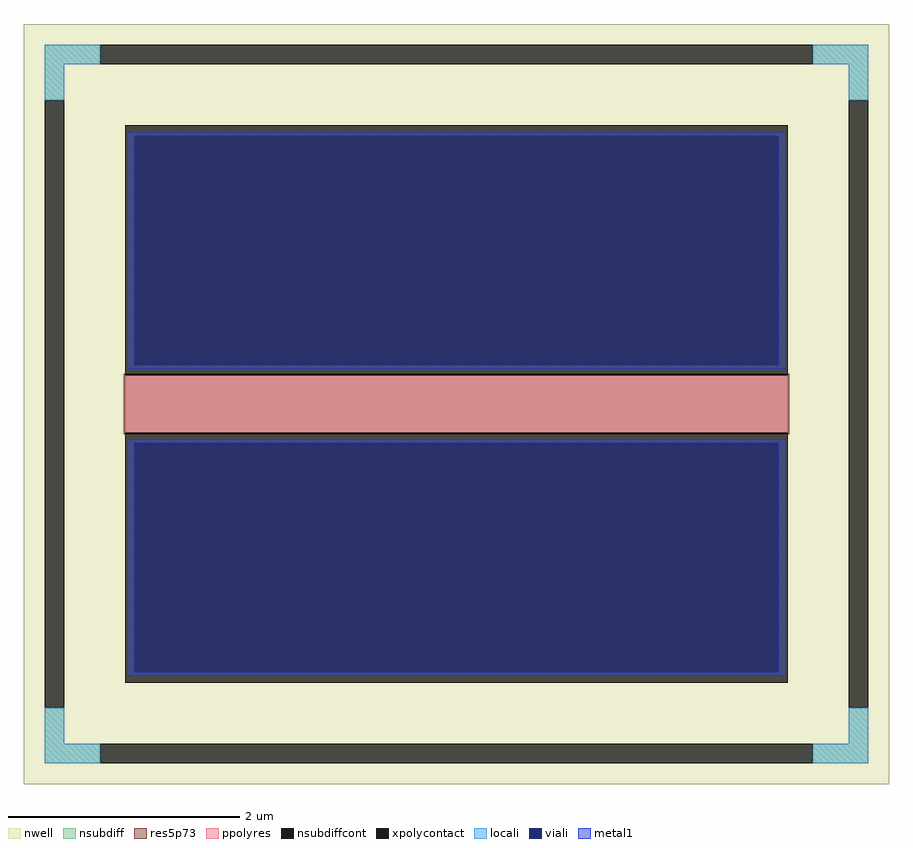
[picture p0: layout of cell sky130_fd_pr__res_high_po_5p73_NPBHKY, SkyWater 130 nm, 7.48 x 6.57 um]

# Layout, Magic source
magic
tech sky130A
magscale 1 2
<< nwell >>
rect -748 -657 748 657
<< nsubdiff >>
rect -712 587 -616 621
rect 616 587 712 621
rect -712 525 -678 587
rect 678 525 712 587
rect -712 -587 -678 -525
rect 678 -587 712 -525
rect -712 -621 -616 -587
rect 616 -621 712 -587
<< nsubdiffcont >>
rect -616 587 616 621
rect -712 -525 -678 525
rect 678 -525 712 525
rect -616 -621 616 -587
<< xpolycontact >>
rect -573 50 573 482
rect -573 -482 573 -50
<< ppolyres >>
rect -573 -50 573 50
<< locali >>
rect -712 587 -616 621
rect 616 587 712 621
rect -712 525 -678 587
rect 678 525 712 587
rect -712 -587 -678 -525
rect 678 -587 712 -525
rect -712 -621 -616 -587
rect 616 -621 712 -587
<< viali >>
rect -557 67 557 464
rect -557 -464 557 -67
<< metal1 >>
rect -569 464 569 470
rect -569 67 -557 464
rect 557 67 569 464
rect -569 61 569 67
rect -569 -67 569 -61
rect -569 -464 -557 -67
rect 557 -464 569 -67
rect -569 -470 569 -464
<< res5p73 >>
rect -575 -52 575 52
<< properties >>
string gencell sky130_fd_pr__res_high_po_5p73
string FIXED_BBOX -695 -604 695 604
string parameters w 5.730 l 0.5 m 1 nx 1 wmin 5.730 lmin 0.50 rho 319.8 val 34.603 dummy 0 dw 0.0 term 19.188 sterm 0.0 caplen 0 guard 1 glc 1 grc 1 gtc 1 gbc 1 compatible {sky130_fd_pr__res_high_po_0p35  sky130_fd_pr__res_high_po_0p69 sky130_fd_pr__res_high_po_1p41  sky130_fd_pr__res_high_po_2p85 sky130_fd_pr__res_high_po_5p73} full_metal 1 wmax 5.730 n_guard 1 hv_guard 0 vias 1 viagb 0 viagt 0 viagl 0 viagr 0
string library sky130
<< end >>
